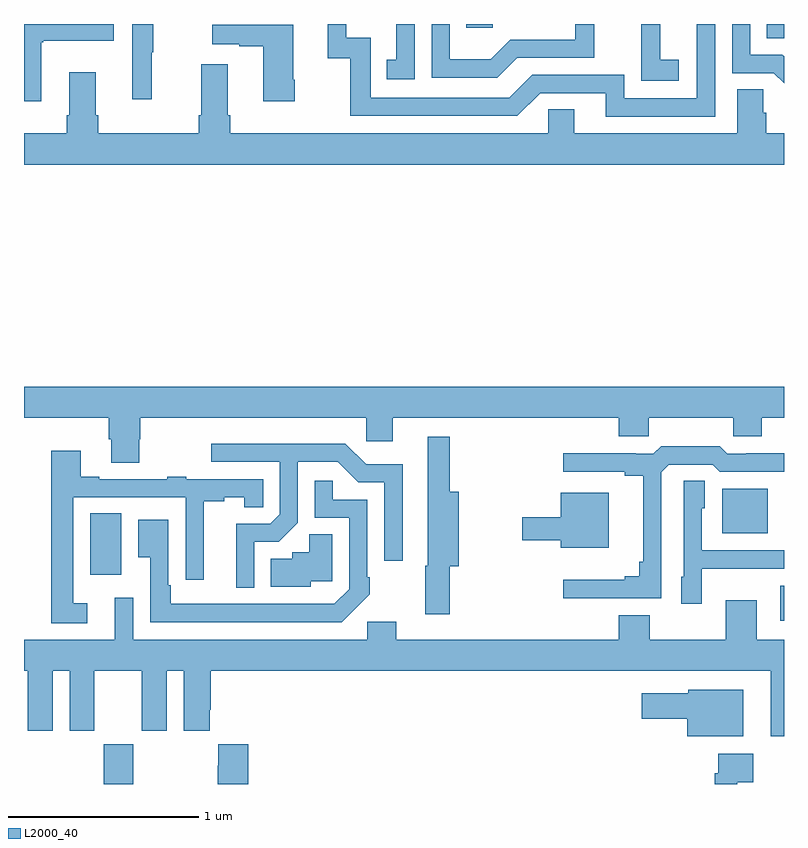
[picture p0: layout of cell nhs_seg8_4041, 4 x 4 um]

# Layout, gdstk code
import gdstk
lib = gdstk.Library(unit=1e-6, precision=1e-09)
def R(c, l, rs):  # rectangles x0, y0, x1, y1
    for r in rs: c.add(gdstk.rectangle(r[:2], r[2:], *l))
def P(c, l, *ps):  # polygons
    for p in ps: c.add(gdstk.Polygon(p, *l))
L2000_40 = (2000, 40)

nhs_seg8_4041 = lib.new_cell('nhs_seg8_4041')
R(nhs_seg8_4041, L2000_40, [(359.419,1119.9,359.574,1120.108), (362.981,1120.758,363,1120.944), (359.348,1121.001,359.512,1121.324), (362.675,1121.219,362.914,1121.455), (362.908,1123.826,363,1123.9), (361.327,1123.881,361.467,1123.9)])
P(nhs_seg8_4041, L2000_40, [(361.597,1123.722),(362.001,1123.722),(362.001,1123.9),(361.902,1123.9),(361.902,1123.818),(361.56,1123.818),(361.456,1123.714),(361.242,1123.714),(361.242,1123.9),(361.146,1123.9),(361.146,1123.617),(361.492,1123.617)],
  [(362.446,1123.711),(362.348,1123.711),(362.348,1123.9),(362.249,1123.9),(362.249,1123.807),(362.248,1123.807),(362.248,1123.601),(362.446,1123.601)],
  [(362.637,1123.9),(362.541,1123.9),(362.541,1123.509),(362.16,1123.509),(362.16,1123.632),(361.674,1123.632),(361.554,1123.512),(360.825,1123.512),(360.825,1123.827),(360.696,1123.827),(360.696,1123.9),(360.599,1123.9),(360.599,1123.719),(360.717,1123.719),(360.717,1123.416),(361.596,1123.416),(361.716,1123.536),(362.063,1123.536),(362.063,1123.413),(362.637,1123.413)],
  [(361.056,1123.9),(360.959,1123.9),(360.959,1123.713),(360.91,1123.713),(360.91,1123.608),(361.056,1123.608)],
  [(363,1123.729),(362.992,1123.737),(362.823,1123.737),(362.823,1123.9),(362.727,1123.9),(362.727,1123.641),(362.946,1123.641),(363,1123.587)],
  [(359.092,1123.804),(359.1,1123.804),(359.1,1123.811),(359.473,1123.811),(359.473,1123.9),(359,1123.9),(359,1123.494),(359.092,1123.494)],
  [(359.672,1123.752),(359.68,1123.752),(359.68,1123.9),(359.571,1123.9),(359.571,1123.715),(359.57,1123.715),(359.57,1123.503),(359.672,1123.503)],
  [(360.426,1123.606),(360.418,1123.606),(360.418,1123.897),(359.991,1123.897),(359.991,1123.793),(360.134,1123.793),(360.134,1123.783),(360.26,1123.783),(360.26,1123.494),(360.426,1123.494)],
  [(363,1123.324),(362.906,1123.324),(362.906,1123.433),(362.892,1123.433),(362.892,1123.556),(362.753,1123.556),(362.753,1123.324),(361.897,1123.324),(361.897,1123.451),(361.758,1123.451),(361.758,1123.324),(360.086,1123.324),(360.086,1123.42),(360.073,1123.42),(360.073,1123.687),(359.933,1123.687),(359.933,1123.42),(359.921,1123.42),(359.921,1123.324),(359.39,1123.324),(359.39,1123.42),(359.377,1123.42),(359.377,1123.645),(359.237,1123.645),(359.237,1123.42),(359.225,1123.42),(359.225,1123.324),(359,1123.324),(359,1123.16),(363,1123.16)],
  [(359.607,1121.715),(359.612,1121.715),(359.612,1121.828),(360.802,1121.828),(360.802,1121.703),(360.94,1121.703),(360.94,1121.828),(362.129,1121.828),(362.129,1121.73),(362.289,1121.73),(362.289,1121.828),(362.734,1121.828),(362.734,1121.73),(362.884,1121.73),(362.884,1121.828),(363,1121.828),(363,1121.992),(359,1121.992),(359,1121.828),(359.447,1121.828),(359.447,1121.715),(359.459,1121.715),(359.459,1121.59),(359.607,1121.59)],
  [(361.241,1121.045),(361.288,1121.045),(361.288,1121.437),(361.241,1121.437),(361.241,1121.728),(361.124,1121.728),(361.124,1121.049),(361.113,1121.049),(361.113,1120.794),(361.241,1120.794)],
  [(360.213,1121.175),(360.342,1121.175),(360.441,1121.274),(360.441,1121.595),(360.651,1121.595),(360.759,1121.487),(360.897,1121.487),(360.897,1121.076),(360.994,1121.076),(360.994,1121.583),(360.801,1121.583),(360.692,1121.692),(359.985,1121.692),(359.985,1121.595),(360.345,1121.595),(360.345,1121.319),(360.297,1121.271),(360.116,1121.271),(360.116,1120.933),(360.213,1120.933)],
  [(362.355,1121.541),(362.394,1121.58),(362.625,1121.58),(362.661,1121.544),(363,1121.544),(363,1121.642),(362.8,1121.642),(362.8,1121.637),(362.7,1121.637),(362.661,1121.677),(362.353,1121.677),(362.313,1121.637),(362.219,1121.637),(362.219,1121.642),(361.839,1121.642),(361.839,1121.544),(362.162,1121.544),(362.162,1121.522),(362.258,1121.522),(362.258,1121.071),(362.239,1121.071),(362.239,1120.994),(362.162,1120.994),(362.162,1120.975),(361.839,1120.975),(361.839,1120.878),(362.355,1120.878)],
  [(359.332,1120.851),(359.259,1120.851),(359.259,1121.409),(359.85,1121.409),(359.85,1120.974),(359.947,1120.974),(359.947,1121.389),(360.053,1121.389),(360.053,1121.408),(360.159,1121.408),(360.159,1121.356),(360.26,1121.356),(360.26,1121.505),(359.853,1121.505),(359.853,1121.518),(359.753,1121.518),(359.753,1121.505),(359.395,1121.505),(359.395,1121.518),(359.299,1121.518),(359.299,1121.653),(359.143,1121.653),(359.143,1120.746),(359.332,1120.746)],
  [(360.82,1120.898),(360.82,1120.987),(360.807,1120.987),(360.807,1121.397),(360.626,1121.397),(360.626,1121.497),(360.531,1121.497),(360.531,1121.301),(360.711,1121.301),(360.711,1120.926),(360.633,1120.848),(359.773,1120.848),(359.773,1120.945),(359.76,1120.945),(359.76,1121.29),(359.6,1121.29),(359.6,1121.093),(359.664,1121.093),(359.664,1120.752),(360.673,1120.752)],
  [(362.568,1121.033),(362.885,1121.033),(362.885,1121.034),(363,1121.034),(363,1121.13),(362.568,1121.13),(362.568,1121.352),(362.584,1121.352),(362.584,1121.495),(362.472,1121.495),(362.472,1120.992),(362.459,1120.992),(362.459,1120.848),(362.568,1120.848)],
  [(362.077,1121.434),(361.826,1121.434),(361.826,1121.305),(361.623,1121.305),(361.623,1121.183),(361.826,1121.183),(361.826,1121.144),(362.077,1121.144)],
  [(360.508,1120.968),(360.622,1120.968),(360.622,1121.214),(360.502,1121.214),(360.502,1121.12),(360.411,1121.12),(360.411,1121.086),(360.298,1121.086),(360.298,1120.937),(360.508,1120.937)],
  [(363,1120.66),(362.857,1120.66),(362.857,1120.867),(362.693,1120.867),(362.693,1120.66),(362.293,1120.66),(362.293,1120.789),(362.129,1120.789),(362.129,1120.66),(360.959,1120.66),(360.959,1120.753),(360.807,1120.753),(360.807,1120.66),(359.574,1120.66),(359.574,1120.879),(359.477,1120.879),(359.477,1120.66),(359,1120.66),(359,1120.496),(359.021,1120.496),(359.021,1120.179),(359.152,1120.179),(359.152,1120.496),(359.24,1120.496),(359.24,1120.179),(359.371,1120.179),(359.371,1120.496),(359.621,1120.496),(359.621,1120.179),(359.752,1120.179),(359.752,1120.496),(359.84,1120.496),(359.84,1120.179),(359.977,1120.179),(359.977,1120.291),(359.984,1120.291),(359.984,1120.496),(362.93,1120.496),(362.93,1120.152),(363,1120.152)],
  [(362.785,1120.396),(362.496,1120.396),(362.496,1120.378),(362.25,1120.378),(362.25,1120.244),(362.492,1120.244),(362.492,1120.151),(362.785,1120.151)],
  [(360.023,1119.995),(360.019,1119.995),(360.019,1119.9),(360.179,1119.9),(360.179,1120.108),(360.023,1120.108)],
  [(362.753,1119.908),(362.839,1119.908),(362.839,1120.06),(362.655,1120.06),(362.655,1119.956),(362.635,1119.956),(362.635,1119.9),(362.753,1119.9)])

lib.write_gds('nhs_seg8_4041.gds')
